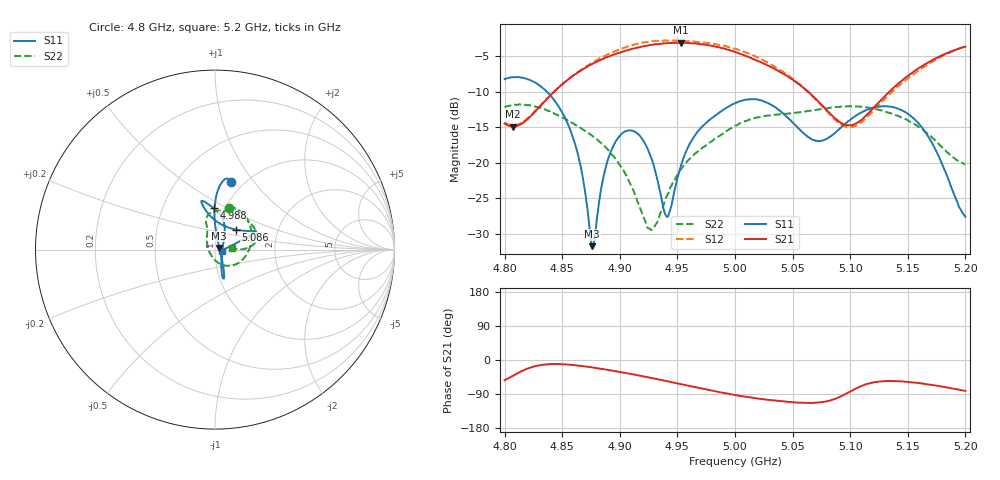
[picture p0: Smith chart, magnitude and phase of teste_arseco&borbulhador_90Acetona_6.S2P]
! Network Analyzer HP8722D
! Hewlett-Packard
! Data name: Linha & Wilkinson
! Saver's name: Rodrigo Anjos
! Comments: Teste da utilização de aquisição
! continua pelo VNA HP8722D
! Time and date: 17/4/2025 11:06
!  Frequency  S11  S21  S12  S22
# HZ  S  MA R 50
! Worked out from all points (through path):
!   401 points, 4.8 GHz to 5.2 GHz, reference 50 ohm
!   highest |S21| = -3.07 dB at 4.953 GHz (marker M1); lowest = -14.9 dB at 4.807 GHz (marker M2)
!   lowest |S11| = -31.8 dB at 4.876 GHz (marker M3), VSWR 1.05, Z = 52.4 + j0.996 ohm
!   |S11| at or under -10 dB: 4.837 GHz to end of sweep
!   |S22| runs from -29.5 to -11.7 dB; largest |S21 - S12| = 1.4
!   S11 on the Smith chart (normalised r, x): 4.8 GHz: 0.87, +0.78; 4.988 GHz: 0.89, +0.43; 5.086 GHz: 1.22, +0.28; 5.2 GHz: 1.08, -0.02
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4.8e9  0.3888 76.9  0.1888 -53.4  0.1921 81.8  0.2456 71.4
4.807e9  0.4004 79.0  0.18 -42.0  0.1833 92.1  0.2552 65.9
4.844e9  0.2697 89.6  0.3224 -10.6  0.3226 122.8  0.2192 23.0
4.858e9  0.1621 90.3  0.4023 -12.8  0.4041 122.7  0.1918 1.6
4.867e9  0.08588 84.3  0.4525 -16.0  0.4558 121.3  0.1738 -12.4
4.876e9  0.02578 21.6  0.4959 -19.8  0.5073 119.1  0.1547 -26.7
4.889e9  0.1005 -63.5  0.5554 -25.9  0.5767 114.7  0.1256 -46.3
4.903e9  0.1633 -71.7  0.6098 -33.1  0.6442 108.6  0.08867 -67.5
4.925e9  0.1207 -72.7  0.6736 -45.8  0.7131 96.2  0.03446 -140.5
4.934e9  0.06788 -58.1  0.6875 -51.6  0.7259 90.4  0.04122 163.0
4.942e9  0.04177 2.7  0.6974 -56.6  0.7276 85.4  0.06062 136.1
4.953e9  0.09488 56.9  0.7023 -63.7  0.7233 78.5  0.08964 120.6
4.966e9  0.1591 71.7  0.6932 -71.9  0.7122 70.3  0.117 111.4
4.988e9  0.2302 91.9  0.6445 -85.6  0.6754 55.9  0.1578 108.6
5e9  0.2627 100.1  0.6043 -92.4  0.6382 48.6  0.1819 105.5
5.028e9  0.2648 105.7  0.4858 -104.8  0.5102 34.0  0.2151 89.3
5.067e9  0.1456 77.4  0.2978 -113.4  0.2962 27.7  0.2326 54.9
5.086e9  0.16 44.2  0.2084 -103.4  0.2039 39.6  0.2459 37.0
5.105e9  0.2149 28.7  0.1887 -75.2  0.1825 69.6  0.2493 22.5
5.134e9  0.2489 23.9  0.3169 -55.4  0.3034 91.1  0.2246 9.3
5.164e9  0.1694 20.0  0.4897 -62.6  0.4746 85.4  0.1688 1.8
5.2e9  0.04146 -14.1  0.6586 -81.6  0.6609 67.7  0.09766 5.8
